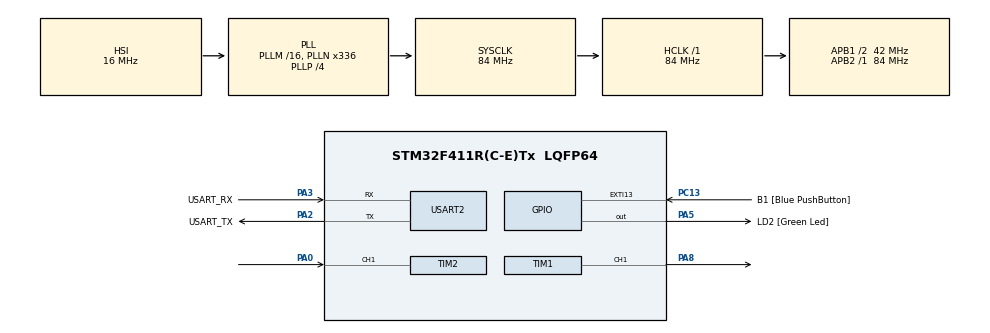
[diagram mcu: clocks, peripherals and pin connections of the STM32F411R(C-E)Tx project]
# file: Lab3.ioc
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Dma.Request0=TIM2_CH1
Dma.TIM2_CH1.0.Direction=DMA_PERIPH_TO_MEMORY
Dma.TIM2_CH1.0.FIFOMode=DMA_FIFOMODE_DISABLE
Dma.TIM2_CH1.0.Instance=DMA1_Stream5
Dma.TIM2_CH1.0.MemDataAlignment=DMA_MDATAALIGN_WORD
Dma.TIM2_CH1.0.MemInc=DMA_MINC_ENABLE
Dma.TIM2_CH1.0.Mode=DMA_CIRCULAR
Dma.TIM2_CH1.0.PeriphDataAlignment=DMA_PDATAALIGN_WORD
Dma.TIM2_CH1.0.PeriphInc=DMA_PINC_DISABLE
Dma.TIM2_CH1.0.Priority=DMA_PRIORITY_LOW
Mcu.Family=STM32F4
Mcu.Name=STM32F411R(C-E)Tx
Mcu.Package=LQFP64
NVIC.DMA1_Stream5_IRQn=true\:0\:0\:false\:false\:true\:false\:true\:true
NVIC.PriorityGroup=NVIC_PRIORITYGROUP_0
PA0-WKUP.Signal=S_TIM2_CH1_ETR
PA13.GPIO_Label=TMS
PA13.Mode=Serial_Wire
PA13.Signal=SYS_JTMS-SWDIO
PA14.GPIO_Label=TCK
PA14.Mode=Serial_Wire
PA14.Signal=SYS_JTCK-SWCLK
PA2.GPIO_Label=USART_TX
PA2.Mode=Asynchronous
PA2.Signal=USART2_TX
PA3.GPIO_Label=USART_RX
PA3.Mode=Asynchronous
PA3.Signal=USART2_RX
PA5.GPIO_Label=LD2 [Green Led]
PA5.Signal=GPIO_Output
PA8.Signal=S_TIM1_CH1
PB3.GPIO_Label=SWO
PB3.Signal=SYS_JTDO-SWO
PC13-ANTI_TAMP.GPIO_Label=B1 [Blue PushButton]
PC13-ANTI_TAMP.GPIO_ModeDefaultEXTI=GPIO_MODE_IT_FALLING
PC13-ANTI_TAMP.Signal=GPXTI13
PC14-OSC32_IN.Mode=LSE-External-Oscillator
PC14-OSC32_IN.Signal=RCC_OSC32_IN
PC15-OSC32_OUT.Mode=LSE-External-Oscillator
PC15-OSC32_OUT.Signal=RCC_OSC32_OUT
PH0\ -\ OSC_IN.Mode=HSE-External-Clock-Source
PH0\ -\ OSC_IN.Signal=RCC_OSC_IN
PH1\ -\ OSC_OUT.Mode=HSE-External-Clock-Source
PH1\ -\ OSC_OUT.Signal=RCC_OSC_OUT
ProjectManager.HeapSize=0x200
ProjectManager.StackSize=0x400
ProjectManager.TargetToolchain=STM32CubeIDE
RCC.48MHZClocksFreq_Value=84000000
RCC.AHBFreq_Value=84000000
RCC.APB1CLKDivider=RCC_HCLK_DIV2
RCC.APB1Freq_Value=42000000
RCC.APB1TimFreq_Value=84000000
RCC.APB2Freq_Value=84000000
RCC.APB2TimFreq_Value=84000000
RCC.CortexFreq_Value=84000000
RCC.FLatency-AdvancedSettings=FLASH_LATENCY_2
RCC.HCLKFreq_Value=84000000
RCC.HSE_VALUE=8000000
RCC.HSI_VALUE=16000000
RCC.PLLN=336
RCC.PLLP=RCC_PLLP_DIV4
RCC.SYSCLKFreq_VALUE=84000000
RCC.SYSCLKSource=RCC_SYSCLKSOURCE_PLLCLK
RCC.VCOOutputFreq_Value=336000000
SH.S_TIM1_CH1.0=TIM1_CH1,PWM Generation1 CH1
SH.S_TIM2_CH1_ETR.0=TIM2_CH1,Input_Capture1_from_TI1
TIM1.Channel-PWM\ Generation1\ CH1=TIM_CHANNEL_1
TIM1.Period=999
TIM1.Prescaler=83
TIM1.Pulse-PWM\ Generation1\ CH1=500
TIM2.Channel-Input_Capture1_from_TI1=TIM_CHANNEL_1
TIM2.Period=4294967295
TIM2.Prescaler=83
USART2.VirtualMode=VM_ASYNC
VP_TIM1_VS_ClockSourceINT.Mode=Internal
VP_TIM2_VS_ClockSourceINT.Mode=Internal
board=NUCLEO-F411RE

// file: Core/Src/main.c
/* USER CODE BEGIN Header */
/**
  ******************************************************************************
  * @file           : main.c
  * @brief          : Main program body
  ******************************************************************************
  * @attention
  *
  * Copyright (c) 2023 STMicroelectronics.
  * All rights reserved.
  *
  * This software is licensed under terms that can be found in the LICENSE file
  * in the root directory of this software component.
  * If no LICENSE file comes with this software, it is provided AS-IS.
  *
  ******************************************************************************
  */
/* USER CODE END Header */
#include "main.h"

/* USER CODE BEGIN Includes */
#define IC_Buffer_Size 20 //make variable for input capture size
/* USER CODE END Includes */

TIM_HandleTypeDef htim1;
TIM_HandleTypeDef htim2;
DMA_HandleTypeDef hdma_tim2_ch1;

UART_HandleTypeDef huart2;

/* USER CODE BEGIN PV */

uint32_t InputCapture[IC_Buffer_Size]; //make array for input capture

//declare all of the variable
uint32_t duty = 1000;
uint32_t MotorsetDuty = 0;
uint8_t MotorControlEnable = 0; //1 on 0 off

float MotorSetPRM = 0;
float MotorReadRPM = 0;
int t =0;

/* USER CODE END PV */

void SystemClock_Config(void);
static void MX_GPIO_Init(void);
static void MX_DMA_Init(void);
static void MX_USART2_UART_Init(void);
static void MX_TIM2_Init(void);
static void MX_TIM1_Init(void);
/* USER CODE BEGIN PFP */
float IC_Calc_Period(); //make function footprint
/* USER CODE END PFP */

int main(void)
{

  /* MCU Configuration--------------------------------------------------------*/

  /* Reset of all peripherals, Initializes the Flash interface and the Systick. */
  HAL_Init();

  /* Configure the system clock */
  SystemClock_Config();

  /* Initialize all configured peripherals */
  MX_GPIO_Init();
  MX_DMA_Init();
  MX_USART2_UART_Init();
  MX_TIM2_Init();
  MX_TIM1_Init();
  /* USER CODE BEGIN 2 */

  //start all DMA that use

  HAL_TIM_Base_Start(&htim2);
  HAL_TIM_IC_Start_DMA(&htim2, TIM_CHANNEL_1, InputCapture, IC_Buffer_Size);

  HAL_TIM_Base_Start(&htim1);
  HAL_TIM_PWM_Start(&htim1, TIM_CHANNEL_1);

  /* USER CODE END 2 */

  /* Infinite loop */
  while (1)
  {

    /* USER CODE BEGIN 3 */

	  static uint32_t timestamp = 0;
	  //make everything working under 2Hz.
	  if(HAL_GetTick()>= timestamp)
	{
		  timestamp = HAL_GetTick()+500;

		  if(MotorControlEnable == 0) //off mode 1.Control Duty
		{
			duty = MotorsetDuty*10;
			__HAL_TIM_SET_COMPARE(&htim1,TIM_CHANNEL_1,duty); //demand PWM in TIM1
			MotorReadRPM = 60/(IC_Calc_Period() * 0.000001*768); //calculate RPM
			t=30; // status check
		}
		  else if(MotorControlEnable == 1) //on mode 2.Control RPM
		{
		//duty = MotorSetPRM*10;
			  if(MotorReadRPM < MotorSetPRM*0.97) //read less than set low boudery
			 {
			  	duty = duty+10; // resolution 1% , I have 1000 so 1% of 1000 = 10
				__HAL_TIM_SET_COMPARE(&htim1,TIM_CHANNEL_1,duty); //demand PWM in TIM1
				MotorReadRPM = 60/(IC_Calc_Period() * 0.000001*768); //calculate RPM
				t=1;// status check
			 }
			  else if(MotorReadRPM > MotorSetPRM*1.03) //read more than set high boudery
			 {
				duty = duty-10;
				__HAL_TIM_SET_COMPARE(&htim1,TIM_CHANNEL_1,duty); //demand PWM in TIM1
				MotorReadRPM = 60/(IC_Calc_Period() * 0.000001*768); //calculate RPM
				t=2;// status check
			 }
		}

	}
  }
  /* USER CODE END 3 */
}

void SystemClock_Config(void)
{
  RCC_OscInitTypeDef RCC_OscInitStruct = {0};
  RCC_ClkInitTypeDef RCC_ClkInitStruct = {0};

  /** Configure the main internal regulator output voltage
  */
  __HAL_RCC_PWR_CLK_ENABLE();
  __HAL_PWR_VOLTAGESCALING_CONFIG(PWR_REGULATOR_VOLTAGE_SCALE1);

  /** Initializes the RCC Oscillators according to the specified parameters
  * in the RCC_OscInitTypeDef structure.
  */
  RCC_OscInitStruct.OscillatorType = RCC_OSCILLATORTYPE_HSI;
  RCC_OscInitStruct.HSIState = RCC_HSI_ON;
  RCC_OscInitStruct.HSICalibrationValue = RCC_HSICALIBRATION_DEFAULT;
  RCC_OscInitStruct.PLL.PLLState = RCC_PLL_ON;
  RCC_OscInitStruct.PLL.PLLSource = RCC_PLLSOURCE_HSI;
  RCC_OscInitStruct.PLL.PLLM = 16;
  RCC_OscInitStruct.PLL.PLLN = 336;
  RCC_OscInitStruct.PLL.PLLP = RCC_PLLP_DIV4;
  RCC_OscInitStruct.PLL.PLLQ = 4;
  if (HAL_RCC_OscConfig(&RCC_OscInitStruct) != HAL_OK)
  {
    Error_Handler();
  }

  /** Initializes the CPU, AHB and APB buses clocks
  */
  RCC_ClkInitStruct.ClockType = RCC_CLOCKTYPE_HCLK|RCC_CLOCKTYPE_SYSCLK
                              |RCC_CLOCKTYPE_PCLK1|RCC_CLOCKTYPE_PCLK2;
  RCC_ClkInitStruct.SYSCLKSource = RCC_SYSCLKSOURCE_PLLCLK;
  RCC_ClkInitStruct.AHBCLKDivider = RCC_SYSCLK_DIV1;
  RCC_ClkInitStruct.APB1CLKDivider = RCC_HCLK_DIV2;
  RCC_ClkInitStruct.APB2CLKDivider = RCC_HCLK_DIV1;

  if (HAL_RCC_ClockConfig(&RCC_ClkInitStruct, FLASH_LATENCY_2) != HAL_OK)
  {
    Error_Handler();
  }
}

static void MX_TIM1_Init(void)
{

  TIM_ClockConfigTypeDef sClockSourceConfig = {0};
  TIM_MasterConfigTypeDef sMasterConfig = {0};
  TIM_OC_InitTypeDef sConfigOC = {0};
  TIM_BreakDeadTimeConfigTypeDef sBreakDeadTimeConfig = {0};

  htim1.Instance = TIM1;
  htim1.Init.Prescaler = 83;
  htim1.Init.CounterMode = TIM_COUNTERMODE_UP;
  htim1.Init.Period = 999;
  htim1.Init.ClockDivision = TIM_CLOCKDIVISION_DIV1;
  htim1.Init.RepetitionCounter = 0;
  htim1.Init.AutoReloadPreload = TIM_AUTORELOAD_PRELOAD_DISABLE;
  if (HAL_TIM_Base_Init(&htim1) != HAL_OK)
  {
    Error_Handler();
  }
  sClockSourceConfig.ClockSource = TIM_CLOCKSOURCE_INTERNAL;
  if (HAL_TIM_ConfigClockSource(&htim1, &sClockSourceConfig) != HAL_OK)
  {
    Error_Handler();
  }
  if (HAL_TIM_PWM_Init(&htim1) != HAL_OK)
  {
    Error_Handler();
  }
  sMasterConfig.MasterOutputTrigger = TIM_TRGO_RESET;
  sMasterConfig.MasterSlaveMode = TIM_MASTERSLAVEMODE_DISABLE;
  if (HAL_TIMEx_MasterConfigSynchronization(&htim1, &sMasterConfig) != HAL_OK)
  {
    Error_Handler();
  }
  sConfigOC.OCMode = TIM_OCMODE_PWM1;
  sConfigOC.Pulse = 500;
  sConfigOC.OCPolarity = TIM_OCPOLARITY_HIGH;
  sConfigOC.OCNPolarity = TIM_OCNPOLARITY_HIGH;
  sConfigOC.OCFastMode = TIM_OCFAST_DISABLE;
  sConfigOC.OCIdleState = TIM_OCIDLESTATE_RESET;
  sConfigOC.OCNIdleState = TIM_OCNIDLESTATE_RESET;
  if (HAL_TIM_PWM_ConfigChannel(&htim1, &sConfigOC, TIM_CHANNEL_1) != HAL_OK)
  {
    Error_Handler();
  }
  sBreakDeadTimeConfig.OffStateRunMode = TIM_OSSR_DISABLE;
  sBreakDeadTimeConfig.OffStateIDLEMode = TIM_OSSI_DISABLE;
  sBreakDeadTimeConfig.LockLevel = TIM_LOCKLEVEL_OFF;
  sBreakDeadTimeConfig.DeadTime = 0;
  sBreakDeadTimeConfig.BreakState = TIM_BREAK_DISABLE;
  sBreakDeadTimeConfig.BreakPolarity = TIM_BREAKPOLARITY_HIGH;
  sBreakDeadTimeConfig.AutomaticOutput = TIM_AUTOMATICOUTPUT_DISABLE;
  if (HAL_TIMEx_ConfigBreakDeadTime(&htim1, &sBreakDeadTimeConfig) != HAL_OK)
  {
    Error_Handler();
  }
  HAL_TIM_MspPostInit(&htim1);

}

static void MX_TIM2_Init(void)
{

  TIM_ClockConfigTypeDef sClockSourceConfig = {0};
  TIM_MasterConfigTypeDef sMasterConfig = {0};
  TIM_IC_InitTypeDef sConfigIC = {0};

  htim2.Instance = TIM2;
  htim2.Init.Prescaler = 83;
  htim2.Init.CounterMode = TIM_COUNTERMODE_UP;
  htim2.Init.Period = 4294967295;
  htim2.Init.ClockDivision = TIM_CLOCKDIVISION_DIV1;
  htim2.Init.AutoReloadPreload = TIM_AUTORELOAD_PRELOAD_DISABLE;
  if (HAL_TIM_Base_Init(&htim2) != HAL_OK)
  {
    Error_Handler();
  }
  sClockSourceConfig.ClockSource = TIM_CLOCKSOURCE_INTERNAL;
  if (HAL_TIM_ConfigClockSource(&htim2, &sClockSourceConfig) != HAL_OK)
  {
    Error_Handler();
  }
  if (HAL_TIM_IC_Init(&htim2) != HAL_OK)
  {
    Error_Handler();
  }
  sMasterConfig.MasterOutputTrigger = TIM_TRGO_RESET;
  sMasterConfig.MasterSlaveMode = TIM_MASTERSLAVEMODE_DISABLE;
  if (HAL_TIMEx_MasterConfigSynchronization(&htim2, &sMasterConfig) != HAL_OK)
  {
    Error_Handler();
  }
  sConfigIC.ICPolarity = TIM_INPUTCHANNELPOLARITY_RISING;
  sConfigIC.ICSelection = TIM_ICSELECTION_DIRECTTI;
  sConfigIC.ICPrescaler = TIM_ICPSC_DIV1;
  sConfigIC.ICFilter = 0;
  if (HAL_TIM_IC_ConfigChannel(&htim2, &sConfigIC, TIM_CHANNEL_1) != HAL_OK)
  {
    Error_Handler();
  }

}

static void MX_USART2_UART_Init(void)
{

  huart2.Instance = USART2;
  huart2.Init.BaudRate = 115200;
  huart2.Init.WordLength = UART_WORDLENGTH_8B;
  huart2.Init.StopBits = UART_STOPBITS_1;
  huart2.Init.Parity = UART_PARITY_NONE;
  huart2.Init.Mode = UART_MODE_TX_RX;
  huart2.Init.HwFlowCtl = UART_HWCONTROL_NONE;
  huart2.Init.OverSampling = UART_OVERSAMPLING_16;
  if (HAL_UART_Init(&huart2) != HAL_OK)
  {
    Error_Handler();
  }

}

static void MX_DMA_Init(void)
{

  /* DMA controller clock enable */
  __HAL_RCC_DMA1_CLK_ENABLE();

  /* DMA interrupt init */
  /* DMA1_Stream5_IRQn interrupt configuration */
  HAL_NVIC_SetPriority(DMA1_Stream5_IRQn, 0, 0);
  HAL_NVIC_EnableIRQ(DMA1_Stream5_IRQn);

}

static void MX_GPIO_Init(void)
{
  GPIO_InitTypeDef GPIO_InitStruct = {0};

  /* GPIO Ports Clock Enable */
  __HAL_RCC_GPIOC_CLK_ENABLE();
  __HAL_RCC_GPIOH_CLK_ENABLE();
  __HAL_RCC_GPIOA_CLK_ENABLE();
  __HAL_RCC_GPIOB_CLK_ENABLE();

  /*Configure GPIO pin Output Level */
  HAL_GPIO_WritePin(LD2_GPIO_Port, LD2_Pin, GPIO_PIN_RESET);

  /*Configure GPIO pin : B1_Pin */
  GPIO_InitStruct.Pin = B1_Pin;
  GPIO_InitStruct.Mode = GPIO_MODE_IT_FALLING;
  GPIO_InitStruct.Pull = GPIO_NOPULL;
  HAL_GPIO_Init(B1_GPIO_Port, &GPIO_InitStruct);

  /*Configure GPIO pin : LD2_Pin */
  GPIO_InitStruct.Pin = LD2_Pin;
  GPIO_InitStruct.Mode = GPIO_MODE_OUTPUT_PP;
  GPIO_InitStruct.Pull = GPIO_NOPULL;
  GPIO_InitStruct.Speed = GPIO_SPEED_FREQ_LOW;
  HAL_GPIO_Init(LD2_GPIO_Port, &GPIO_InitStruct);

}

/* USER CODE BEGIN 4 */
// USE data to find average value

float IC_Calc_Period()
{
	uint32_t currentDMApointer = IC_Buffer_Size - __HAL_DMA_GET_COUNTER((htim2.hdma[1])); // check position that dma will collect
	uint32_t lastValidDMApointer = (currentDMApointer -1 + IC_Buffer_Size) % IC_Buffer_Size; //floding value
	uint32_t i = (lastValidDMApointer +  IC_Buffer_Size - 5) % IC_Buffer_Size;

	int32_t sumdiff = 0;
	while (i != lastValidDMApointer) //find delta value
	{
		uint32_t firstCapture = InputCapture[i];

		uint32_t nextCapture = InputCapture[(i+1)%IC_Buffer_Size];
		sumdiff += nextCapture - firstCapture ;
		i = (i+1) % IC_Buffer_Size;
	}
	return sumdiff/ 5.0; //return average

}
/* USER CODE END 4 */

void Error_Handler(void)
{
  __disable_irq();
  while (1)
  {
  }
}
